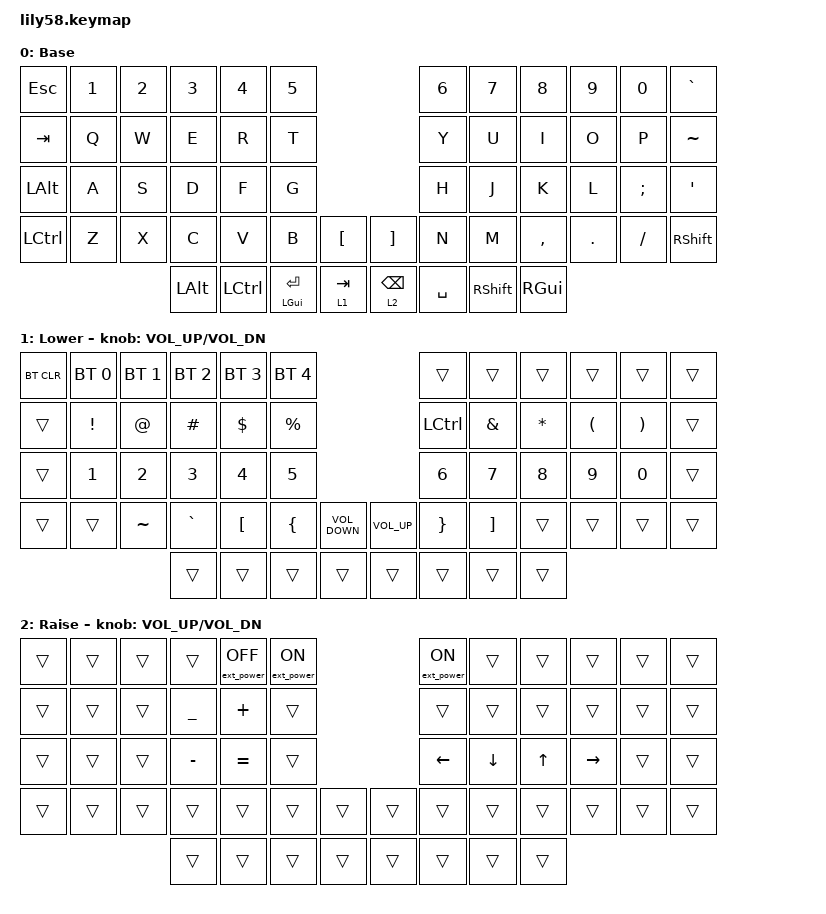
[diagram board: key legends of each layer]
/*
 * Copyright (c) 2020 The ZMK Contributors
 *
 * SPDX-License-Identifier: MIT
 */

#include <behaviors.dtsi>
#include <dt-bindings/zmk/bt.h>
#include <dt-bindings/zmk/ext_power.h>
#include <dt-bindings/zmk/keys.h>

/ {
    combos {
        compatible = "zmk,combos";

        openpar {
            bindings = <&kp LEFT_PARENTHESIS>;
            key-positions = <16 17>;
        };

        opencurly {
            bindings = <&kp LEFT_BRACE>;
            key-positions = <28 29>;
        };

        openbrak {
            bindings = <&kp LEFT_BRACKET>;
            key-positions = <40 41>;
        };

        closepar {
            bindings = <&kp RIGHT_PARENTHESIS>;
            key-positions = <18 19>;
        };

        closecurly {
            bindings = <&kp RIGHT_BRACE>;
            key-positions = <30 31>;
        };

        closebrac {
            bindings = <&kp RIGHT_BRACKET>;
            key-positions = <44 45>;
        };

        jk {
            bindings = <&kp ESCAPE>;
            key-positions = <31 32>;
        };

        tilde {
            bindings = <&kp TILDE>;
            key-positions = <33 34>;
        };

        backtick {
            bindings = <&kp GRAVE>;
            key-positions = <35 34>;
        };
    };

    keymap {
        compatible = "zmk,keymap";

        default_layer {
            // ------------------------------------------------------------------------------------------------------------
            // |  ESC  |  1  |  2  |  3   |  4   |  5   |                   |  6   |  7    |  8    |  9   |   0   |   `   |
            // |  TAB  |  Q  |  W  |  E   |  R   |  T   |                   |  Y   |  U    |  I    |  O   |   P   |   -   |
            // |  CTRL |  A  |  S  |  D   |  F   |  G   |                   |  H   |  J    |  K    |  L   |   ;   |   '   |
            // | SHIFT |  Z  |  X  |  C   |  V   |  B   |   "["  |  |  "]"  |  N   |  M    |  ,    |  .   |   /   | SHIFT |
            //                     | ALT  | GUI  | LOWER|  SPACE |  | ENTER | RAISE| BSPC  | GUI   |

            display-name = "Base";
            bindings = <
&kp ESC       &kp N1  &kp N2  &kp N3        &kp N4     &kp N5                                                     &kp N6     &kp N7           &kp N8         &kp N9   &kp N0    &kp GRAVE
&kp TAB       &kp Q   &kp W   &kp E         &kp R      &kp T                                                      &kp Y      &kp U            &kp I          &kp O    &kp P     &kp TILDE
&kp LEFT_ALT  &kp A   &kp S   &kp D         &kp F      &kp G                                                      &kp H      &kp J            &kp K          &kp L    &kp SEMI  &kp SQT
&kp LCTRL     &kp Z   &kp X   &kp C         &kp V      &kp B               &kp LEFT_BRACKET    &kp RIGHT_BRACKET  &kp N      &kp M            &kp COMMA      &kp DOT  &kp FSLH  &kp RSHFT
                              &kp LEFT_ALT  &kp LCTRL  &mt LEFT_GUI ENTER  &lt 1 TAB           &lt 2 BACKSPACE    &kp SPACE  &kp RIGHT_SHIFT  &kp RIGHT_GUI
            >;
        };

        lower_layer {
            // ------------------------------------------------------------------------------------------------------------
            // | BTCLR | BT1 | BT2 |  BT3 |  BT4 |  BT5 |                   |      |       |       |      |       |       |
            // |  F1   |  F2 |  F3 |  F4  |  F5  |  F6  |                   |  F7  |  F8   |  F9   |  F10 |  F11  |  F12  |
            // |   `   |  !  |  @  |  #   |  $   |  %   |                   |  ^   |  &    |  *    |  (   |   )   |   ~   |
            // |       |     |     |      |      |      |        |  |       |      |  _    |  +    |  {   |   }   |  "|"  |
            //                     |      |      |      |        |  |       |      |       |       |

            display-name = "Lower";
            bindings = <
&bt BT_CLR  &bt BT_SEL 0     &bt BT_SEL 1  &bt BT_SEL 2  &bt BT_SEL 3      &bt BT_SEL 4                                          &trans           &trans             &trans        &trans                &trans                 &trans
&trans      &kp EXCLAMATION  &kp AT_SIGN   &kp HASH      &kp DOLLAR        &kp PERCENT                                           &kp LCTRL        &kp AMPERSAND      &kp ASTERISK  &kp LEFT_PARENTHESIS  &kp RIGHT_PARENTHESIS  &trans
&trans      &kp NUMBER_1     &kp NUMBER_2  &kp NUMBER_3  &kp NUMBER_4      &kp N5                                                &kp NUMBER_6     &kp N7             &kp N8        &kp N9                &kp N0                 &trans
&trans      &trans           &kp TILDE     &kp GRAVE     &kp LEFT_BRACKET  &kp LEFT_BRACE  &kp C_VOLUME_DOWN    &kp C_VOLUME_UP  &kp RIGHT_BRACE  &kp RIGHT_BRACKET  &trans        &trans                &trans                 &trans
                                           &trans        &trans            &trans          &trans               &trans           &trans           &trans             &trans
            >;

            sensor-bindings = <&inc_dec_kp C_VOL_UP C_VOL_DN>;
        };

        raise_layer {
            // ------------------------------------------------------------------------------------------------------------
            // |       |     |     |      |      |      |                   |      |       |       |      |       |       |
            // |   `   |  1  |  2  |  3   |  4   |  5   |                   |  6   |   7   |   8   |  9   |   0   |       |
            // |   F1  |  F2 |  F3 |  F4  |  F5  |  F6  |                   |      |   <-  |   v   |  ^   |  ->   |       |
            // |   F7  |  F8 |  F9 |  F10 |  F11 |  F12 |        |  |       |  +   |   -   |   =   |  [   |   ]   |   \   |
            //                     |      |      |      |        |  |       |      |       |       |

            display-name = "Raise";
            bindings = <
&trans  &trans  &trans  &trans          &ext_power EP_OFF  &ext_power EP_ON                    &ext_power EP_ON  &trans    &trans        &trans     &trans  &trans
&trans  &trans  &trans  &kp UNDERSCORE  &kp PLUS           &trans                              &trans            &trans    &trans        &trans     &trans  &trans
&trans  &trans  &trans  &kp MINUS       &kp EQUAL          &trans                              &kp LEFT          &kp DOWN  &kp UP_ARROW  &kp RIGHT  &trans  &trans
&trans  &trans  &trans  &trans          &trans             &trans            &trans    &trans  &trans            &trans    &trans        &trans     &trans  &trans
                        &trans          &trans             &trans            &trans    &trans  &trans            &trans    &trans
            >;

            sensor-bindings = <&inc_dec_kp C_VOL_UP C_VOL_DN>;
        };

        extra_1 { status = "reserved"; };
    };
};
